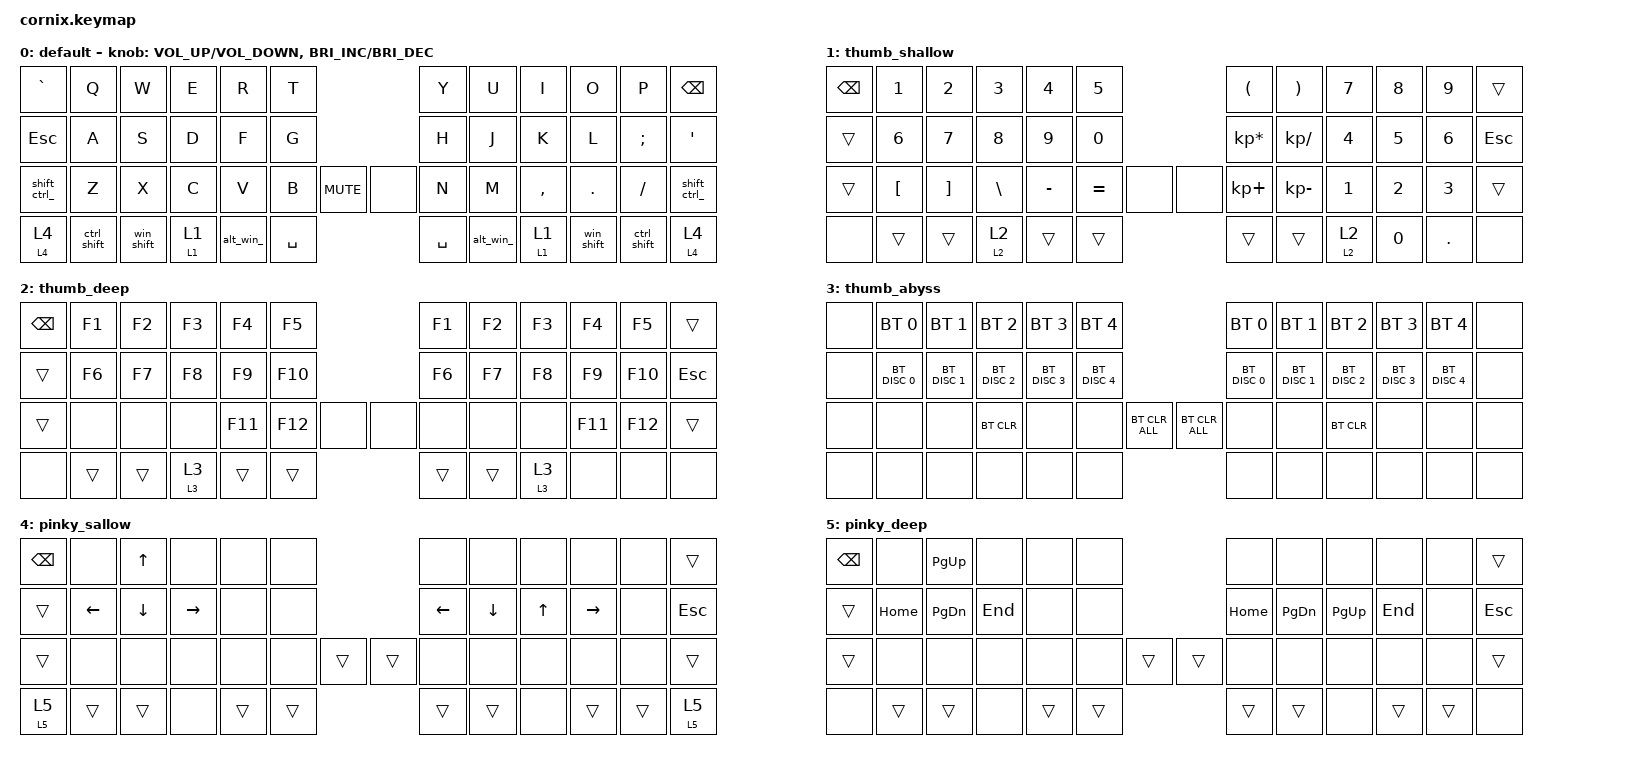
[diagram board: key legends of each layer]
/*
 * Copyright (c) 2020 The ZMK Contributors
 *
 * SPDX-License-Identifier: MIT
 */

#include "zmk-helpers/helper.h"
#include "includes/cornix54.h"

// tap windows for ctl alt and gui

#define HM_TAPPING_TERM 250
#define HM_TAPPING_REPEAT 210

// quick tapping for shift

#define HM_TAPPING_TERM_FAST 200
#define HM_PRIOR_IDLE 70
#define BASE 0
#define WIN 1
#define LOWER 2
#define RAISE 3
#define ADJUST 4
#define NAVI   5
#define NUM    6
#define DEBUG  7

// https://github.com/urob/zmk-config/tree/main#timeless-homerow-mods

#define KEYS_L LT0 LT1 LT2 LT3 LT4 LT5 LM0 LM1 LM2 LM3 LM4 LM5 LB0 LB1 LB2 LB3 LB4 LB5  // left hand
#define KEYS_R RT0 RT1 RT2 RT3 RT4 RT5 RM0 RM1 RM2 RM3 RM4 RM5 RB0 RB1 RB2 RB3 RB4 RB5  // right hand
#define THUMBS LH1 LH0 RH0 RH1
#define KEYS_T LH1 LH0 RH0 RH1
#define ZMK_POINTING_DEFAULT_SCRL_VAL 15

#include <behaviors.dtsi>
#include <dt-bindings/zmk/bt.h>
#include <dt-bindings/zmk/keys.h>

/ {
    // Activate ADJUST layer by pressing raise and lower

    behaviors {
        // Positional Homerow mods for shift
        // Use faster tapping term and disable some features that may
        // cause false negatives.
        /*
         * Non-Positional Homerow Mods
         * Used for &mm_grescm_gui behavior on left hand.
         *
         * Usage: &hm LSHFT T
         * Tap: T
         * Tap-Tap-Hold: Repeat T
         * Hold: LSHIFT
         */

        mo_sl: mo_sl {
            compatible = "zmk,behavior-hold-tap";
            label = "MO_SL";
            bindings = <&mo>, <&sl>;

            #binding-cells = <2>;
            tapping-term-ms = <300>;
            hold-while-undecided;
            hold-trigger-on-release;
        };

        kp_kp: kp_kp {
            compatible = "zmk,behavior-hold-tap";
            label = "KP_KP";
            bindings = <&kp>, <&kp>;

            #binding-cells = <2>;
            tapping-term-ms = <300>;
            hold-while-undecided;
            hold-trigger-on-release;
            flavor = "tap-preferred";
        };

        alt_win_: alt_win_ {
            compatible = "zmk,behavior-tap-dance";
            label = "ALT_WIN_";
            #binding-cells = <0>;
            bindings = <&kp LEFT_ALT>, <&kp LEFT_WIN>, <&kp LA(LEFT_WIN)>;

            tapping-term-ms = <200>;
        };

        shift_ctrl_: shift_ctrl_ {
            compatible = "zmk,behavior-tap-dance";
            label = "SHIFT_CTRL_";
            #binding-cells = <0>;
            bindings = <&kp LEFT_SHIFT>, <&kp LCTRL>, <&kp LS(LCTRL)>;

            tapping-term-ms = <200>;
        };

        win_shift: win_shift {
            compatible = "zmk,behavior-tap-dance";
            label = "WIN_SHIFT";
            #binding-cells = <0>;
            bindings = <&kp LEFT_WIN>, <&kp LS(LEFT_WIN)>;

            tapping-term-ms = <200>;
        };

        ctrl_shift: ctrl_shift {
            compatible = "zmk,behavior-tap-dance";
            label = "CTRL_SHIFT";
            #binding-cells = <0>;
            bindings = <&kp LCTRL>, <&kp LS(LCTRL)>;

            tapping-term-ms = <200>;
        };
    };

    conditional_layers { compatible = "zmk,conditional-layers"; };

    combos {
        compatible = "zmk,combos";

        cb_delete_left {
            bindings = <&kp DELETE>;
            key-positions = <0 1>;
            layers = <1 2 3 4 5>;
        };

        cb_delete_right {
            bindings = <&kp DELETE>;
            key-positions = <10 11>;
        };

        cb_tab {
            bindings = <&kp TAB>;
            key-positions = <12 13>;
        };

        cb_space_left {
            bindings = <&kp SPACE>;
            key-positions = <15 16 14>;
        };

        cb_space_right {
            bindings = <&kp SPACE>;
            key-positions = <19 20 21>;
        };

        cb_enter_left {
            bindings = <&kp ENTER>;
            key-positions = <28 29 27>;
        };

        cb_enter_right {
            bindings = <&kp ENTER>;
            key-positions = <33 32 34>;
        };
    };

    keymap {
        compatible = "zmk,keymap";

        default {
            bindings = <
&kp GRAVE     &kp Q        &kp W       &kp E       &kp R      &kp T                         &kp Y      &kp U      &kp I       &kp O       &kp P        &kp BSPC
&kp ESCAPE    &kp A        &kp S       &kp D       &kp F      &kp G                         &kp H      &kp J      &kp K       &kp L       &kp SEMI     &kp APOSTROPHE
&shift_ctrl_  &kp Z        &kp X       &kp C       &kp V      &kp B      &kp K_MUTE  &none  &kp N      &kp M      &kp COMMA   &kp DOT     &kp FSLH     &shift_ctrl_
&mo_sl 4 4    &ctrl_shift  &win_shift  &mo_sl 1 1  &alt_win_  &kp SPACE                     &kp SPACE  &alt_win_  &mo_sl 1 1  &win_shift  &ctrl_shift  &mo_sl 4 4
            >;

            sensor-bindings =
                <&inc_dec_kp C_VOLUME_UP C_VOLUME_DOWN>,
                <&inc_dec_kp C_BRIGHTNESS_INC C_BRIGHTNESS_DEC>;
        };

        thumb_shallow {
            bindings = <
&kp BACKSPACE  &kp N1            &kp N2             &kp N3         &kp N4     &kp N5                   &kp LEFT_PARENTHESIS  &kp RIGHT_PARENTHESIS  &kp N7      &kp N8  &kp N9   &trans
&trans         &kp N6            &kp N7             &kp N8         &kp N9     &kp N0                   &kp KP_MULTIPLY       &kp KP_DIVIDE          &kp N4      &kp N5  &kp N6   &kp ESCAPE
&trans         &kp LEFT_BRACKET  &kp RIGHT_BRACKET  &kp BACKSLASH  &kp MINUS  &kp EQUAL  &none  &none  &kp KP_PLUS           &kp KP_MINUS           &kp N1      &kp N2  &kp N3   &trans
&none          &trans            &trans             &mo_sl 2 2     &trans     &trans                   &trans                &trans                 &mo_sl 2 2  &kp N0  &kp DOT  &none
            >;
        };

        thumb_deep {
            bindings = <
&kp BACKSPACE  &kp F1  &kp F2  &kp F3      &kp F4   &kp F5                 &kp F1  &kp F2  &kp F3      &kp F4   &kp F5   &trans
&trans         &kp F6  &kp F7  &kp F8      &kp F9   &kp F10                &kp F6  &kp F7  &kp F8      &kp F9   &kp F10  &kp ESCAPE
&trans         &none   &none   &none       &kp F11  &kp F12  &none  &none  &none   &none   &none       &kp F11  &kp F12  &trans
&none          &trans  &trans  &mo_sl 3 3  &trans   &trans                 &trans  &trans  &mo_sl 3 3  &none    &none    &none
            >;
        };

        thumb_abyss {
            bindings = <
&none  &bt BT_SEL 0   &bt BT_SEL 1   &bt BT_SEL 2   &bt BT_SEL 3   &bt BT_SEL 4                                   &bt BT_SEL 0   &bt BT_SEL 1   &bt BT_SEL 2   &bt BT_SEL 3   &bt BT_SEL 4   &none
&none  &bt BT_DISC 0  &bt BT_DISC 1  &bt BT_DISC 2  &bt BT_DISC 3  &bt BT_DISC 4                                  &bt BT_DISC 0  &bt BT_DISC 1  &bt BT_DISC 2  &bt BT_DISC 3  &bt BT_DISC 4  &none
&none  &none          &none          &bt BT_CLR     &none          &none          &bt BT_CLR_ALL  &bt BT_CLR_ALL  &none          &none          &bt BT_CLR     &none          &none          &none
&none  &none          &none          &none          &none          &none                                          &none          &none          &none          &none          &none          &none
            >;
        };

        pinky_sallow {
            bindings = <
&kp BACKSPACE  &none     &kp UP_ARROW  &none      &none   &none                   &none     &none     &none   &none      &none   &trans
&trans         &kp LEFT  &kp DOWN      &kp RIGHT  &none   &none                   &kp LEFT  &kp DOWN  &kp UP  &kp RIGHT  &none   &kp ESCAPE
&trans         &none     &none         &none      &none   &none   &trans  &trans  &none     &none     &none   &none      &none   &trans
&mo_sl 5 5     &trans    &trans        &none      &trans  &trans                  &trans    &trans    &none   &trans     &trans  &mo_sl 5 5
            >;
        };

        pinky_deep {
            bindings = <
&kp BACKSPACE  &none     &kp PAGE_UP    &none    &none   &none                   &none     &none          &none        &none    &none   &trans
&trans         &kp HOME  &kp PAGE_DOWN  &kp END  &none   &none                   &kp HOME  &kp PAGE_DOWN  &kp PAGE_UP  &kp END  &none   &kp ESCAPE
&trans         &none     &none          &none    &none   &none   &trans  &trans  &none     &none          &none        &none    &none   &trans
&none          &trans    &trans         &none    &trans  &trans                  &trans    &trans         &none        &trans   &trans  &none
            >;
        };
    };
};
